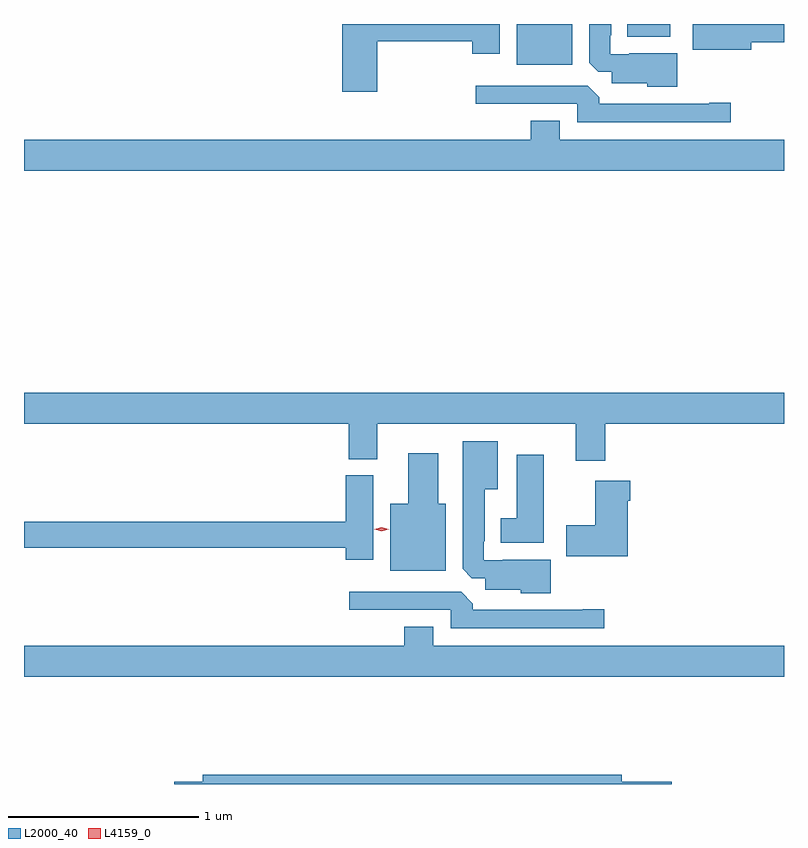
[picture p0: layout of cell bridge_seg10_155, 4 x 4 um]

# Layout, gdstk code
import gdstk
lib = gdstk.Library(unit=1e-6, precision=1e-09)
def R(c, l, rs):  # rectangles x0, y0, x1, y1
    for r in rs: c.add(gdstk.rectangle(r[:2], r[2:], *l))
def P(c, l, *ps):  # polygons
    for p in ps: c.add(gdstk.Polygon(p, *l))
L2000_40 = (2000, 40)
L4159_0 = (4159, 0)

bridge_seg10_155 = lib.new_cell('bridge_seg10_155')
R(bridge_seg10_155, L2000_40, [(256.16,1264.91,256.453,1265.124), (256.742,1265.057,256.969,1265.124)])
P(bridge_seg10_155, L2000_40, [(255.425,1265.032),(255.926,1265.032),(255.926,1264.968),(256.072,1264.968),(256.072,1265.124),(255.242,1265.124),(255.242,1264.767),(255.425,1264.767)],
  [(257.005,1264.969),(256.753,1264.969),(256.753,1264.965),(256.653,1264.965),(256.653,1265.065),(256.657,1265.065),(256.657,1265.124),(256.541,1265.124),(256.541,1264.921),(256.59,1264.872),(256.661,1264.872),(256.661,1264.811),(256.848,1264.811),(256.848,1264.793),(257.005,1264.793)],
  [(257.395,1265.027),(257.567,1265.027),(257.567,1265.124),(257.088,1265.124),(257.088,1264.988),(257.395,1264.988)],
  [(257.287,1264.709),(257.174,1264.709),(257.174,1264.704),(256.595,1264.704),(256.595,1264.738),(256.533,1264.8),(255.945,1264.8),(255.945,1264.704),(256.479,1264.704),(256.479,1264.608),(257.287,1264.608)],
  [(257.567,1264.516),(256.387,1264.516),(256.387,1264.615),(256.235,1264.615),(256.235,1264.516),(253.567,1264.516),(253.567,1264.352),(257.567,1264.352)],
  [(256.625,1263.02),(257.567,1263.02),(257.567,1263.184),(253.567,1263.184),(253.567,1263.02),(255.275,1263.02),(255.275,1262.833),(255.427,1262.833),(255.427,1263.02),(256.472,1263.02),(256.472,1262.826),(256.625,1262.826)],
  [(256.339,1262.305),(256.087,1262.305),(256.087,1262.301),(255.987,1262.301),(255.987,1262.401),(255.991,1262.401),(255.991,1262.675),(256.06,1262.675),(256.06,1262.929),(255.875,1262.929),(255.875,1262.257),(255.924,1262.208),(255.995,1262.208),(255.995,1262.147),(256.182,1262.147),(256.182,1262.129),(256.339,1262.129)],
  [(255.787,1262.599),(255.748,1262.599),(255.748,1262.866),(255.59,1262.866),(255.59,1262.599),(255.494,1262.599),(255.494,1262.246),(255.787,1262.246)],
  [(256.303,1262.857),(256.16,1262.857),(256.16,1262.524),(256.076,1262.524),(256.076,1262.393),(256.303,1262.393)],
  [(255.406,1262.748),(255.26,1262.748),(255.26,1262.504),(253.567,1262.504),(253.567,1262.368),(255.26,1262.368),(255.26,1262.304),(255.406,1262.304)],
  [(256.744,1262.615),(256.757,1262.615),(256.757,1262.719),(256.574,1262.719),(256.574,1262.487),(256.422,1262.487),(256.422,1262.324),(256.744,1262.324)],
  [(256.621,1262.045),(256.508,1262.045),(256.508,1262.04),(255.929,1262.04),(255.929,1262.074),(255.867,1262.136),(255.279,1262.136),(255.279,1262.04),(255.813,1262.04),(255.813,1261.944),(256.621,1261.944)],
  [(257.567,1261.852),(255.721,1261.852),(255.721,1261.951),(255.569,1261.951),(255.569,1261.852),(253.567,1261.852),(253.567,1261.688),(257.567,1261.688)],
  [(256.975,1261.136),(256.714,1261.136),(256.714,1261.172),(254.507,1261.172),(254.507,1261.136),(254.358,1261.136),(254.358,1261.124),(256.975,1261.124)])
P(bridge_seg10_155, L4159_0, [(255.449,1262.455),(255.411,1262.465),(255.411,1262.465),(255.411,1262.465),(255.449,1262.475),(255.487,1262.465),(255.487,1262.465),(255.487,1262.465)])

lib.write_gds('bridge_seg10_155.gds')
